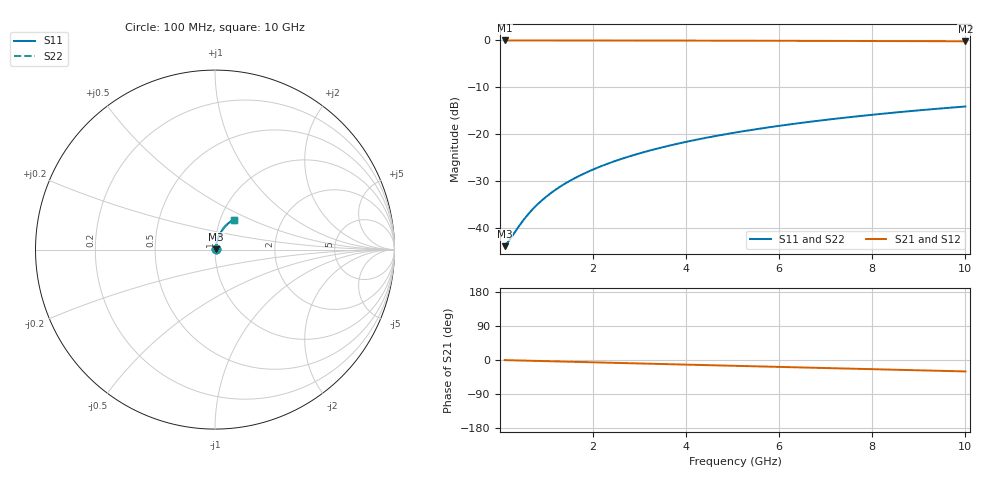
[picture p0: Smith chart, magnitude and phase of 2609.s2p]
# Hz S RI R 50.00
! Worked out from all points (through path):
!   100 points, 100 MHz to 10 GHz, reference 50 ohm
!   highest |S21| = -0.05 dB at 100 MHz (marker M1); lowest = -0.2 dB at 10 GHz (marker M2)
!   group delay of S21, straight-line fit = 8.39 ps
!   lowest |S11| = -43.8 dB at 100 MHz (marker M3), VSWR 1.01, Z = 50.6 + j0.208 ohm
!   |S11| at or under -10 dB: start of sweep to end of sweep
!   |S22| runs from -43.8 to -14.1 dB; largest |S21 - S12| = 0
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1e8  0.00612 0.00206  0.9939 -0.00528  0.9939 -0.00528  0.00612 0.00206
2e8  0.0062 0.00411  0.9938 -0.0106  0.9938 -0.0106  0.0062 0.00411
4e8  0.00638 0.00822  0.9935 -0.0211  0.9935 -0.0211  0.00638 0.00822
5e8  0.0065 0.0103  0.9934 -0.0264  0.9934 -0.0264  0.0065 0.0103
6e8  0.00663 0.0123  0.9932 -0.0317  0.9932 -0.0317  0.00663 0.0123
7e8  0.00679 0.0144  0.9929 -0.037  0.9929 -0.037  0.00679 0.0144
9e8  0.00717 0.0185  0.9924 -0.0475  0.9924 -0.0475  0.00717 0.0185
1.1e9  0.00763 0.0226  0.9917 -0.058  0.9917 -0.058  0.00763 0.0226
1.3e9  0.00817 0.0266  0.9909 -0.0686  0.9909 -0.0686  0.00817 0.0266
1.5e9  0.0088 0.0307  0.99 -0.0791  0.99 -0.0791  0.0088 0.0307
1.8e9  0.00991 0.0368  0.9883 -0.0948  0.9883 -0.0948  0.00991 0.0368
2.1e9  0.0112 0.0428  0.9864 -0.1105  0.9864 -0.1105  0.0112 0.0428
2.5e9  0.0132 0.0507  0.9834 -0.1314  0.9834 -0.1314  0.0132 0.0507
2.9e9  0.0156 0.0586  0.9799 -0.1522  0.9799 -0.1522  0.0156 0.0586
3.4e9  0.019 0.0683  0.9749 -0.178  0.9749 -0.178  0.019 0.0683
4.2e9  0.0255 0.0833  0.9652 -0.2188  0.9652 -0.2188  0.0255 0.0833
5.1e9  0.0342 0.0994  0.952 -0.2639  0.952 -0.2639  0.0342 0.0994
5.9e9  0.0432 0.1129  0.9383 -0.3033  0.9383 -0.3033  0.0432 0.1129
6.7e9  0.0533 0.1256  0.9228 -0.3417  0.9228 -0.3417  0.0533 0.1256
7.5e9  0.0644 0.1374  0.9056 -0.3792  0.9056 -0.3792  0.0644 0.1374
8.4e9  0.078 0.1494  0.8843 -0.4202  0.8843 -0.4202  0.078 0.1494
1e10  0.1045 0.1674  0.8418 -0.4894  0.8418 -0.4894  0.1045 0.1674
